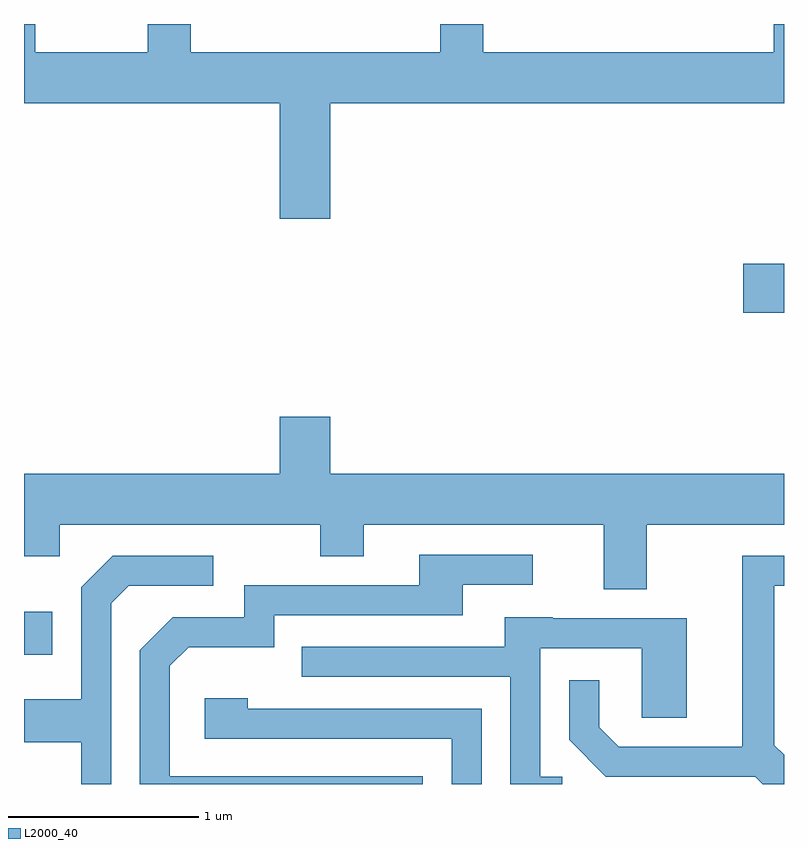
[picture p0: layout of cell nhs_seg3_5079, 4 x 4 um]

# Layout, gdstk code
import gdstk
lib = gdstk.Library(unit=1e-6, precision=1e-09)
def R(c, l, rs):  # rectangles x0, y0, x1, y1
    for r in rs: c.add(gdstk.rectangle(r[:2], r[2:], *l))
def P(c, l, *ps):  # polygons
    for p in ps: c.add(gdstk.Polygon(p, *l))
L2000_40 = (2000, 40)

nhs_seg3_5079 = lib.new_cell('nhs_seg3_5079')
R(nhs_seg3_5079, L2000_40, [(333.611,1218.571,333.759,1218.799), (337.396,1220.371,337.611,1220.629)])
P(nhs_seg3_5079, L2000_40, [(335.224,1221.476),(337.611,1221.476),(337.611,1221.892),(337.556,1221.892),(337.556,1221.744),(336.029,1221.744),(336.029,1221.892),(335.801,1221.892),(335.801,1221.744),(334.489,1221.744),(334.489,1221.892),(334.261,1221.892),(334.261,1221.744),(333.669,1221.744),(333.669,1221.892),(333.611,1221.892),(333.611,1221.476),(334.956,1221.476),(334.956,1220.866),(335.224,1220.866)],
  [(336.889,1219.256),(337.611,1219.256),(337.611,1219.524),(335.224,1219.524),(335.224,1219.824),(334.956,1219.824),(334.956,1219.524),(333.611,1219.524),(333.611,1219.091),(333.799,1219.091),(333.799,1219.256),(335.171,1219.256),(335.171,1219.091),(335.399,1219.091),(335.399,1219.256),(336.661,1219.256),(336.661,1218.916),(336.889,1218.916)],
  [(335.709,1217.934),(334.379,1217.934),(334.379,1218.514),(334.477,1218.611),(334.929,1218.611),(334.929,1218.781),(335.919,1218.781),(335.919,1218.941),(336.288,1218.941),(336.288,1219.099),(335.691,1219.099),(335.691,1218.939),(334.771,1218.939),(334.771,1218.769),(334.394,1218.769),(334.221,1218.597),(334.221,1217.892),(335.709,1217.892)],
  [(337.611,1218.045),(337.559,1218.097),(337.559,1218.936),(337.611,1218.936),(337.611,1219.094),(337.391,1219.094),(337.391,1218.089),(336.742,1218.089),(336.639,1218.192),(336.639,1218.438),(336.481,1218.438),(336.481,1218.124),(336.674,1217.931),(337.459,1217.931),(337.498,1217.892),(337.611,1217.892)],
  [(334.069,1218.844),(334.162,1218.936),(334.608,1218.936),(334.608,1219.094),(334.079,1219.094),(333.911,1218.927),(333.911,1218.339),(333.611,1218.339),(333.611,1218.111),(333.911,1218.111),(333.911,1217.892),(334.069,1217.892)],
  [(336.443,1217.929),(336.329,1217.929),(336.329,1218.606),(336.861,1218.606),(336.861,1218.241),(337.099,1218.241),(337.099,1218.764),(336.395,1218.764),(336.395,1218.769),(336.141,1218.769),(336.141,1218.614),(335.073,1218.614),(335.073,1218.456),(336.171,1218.456),(336.171,1217.892),(336.443,1217.892)],
  [(336.019,1218.289),(334.789,1218.289),(334.789,1218.344),(334.561,1218.344),(334.561,1218.131),(335.861,1218.131),(335.861,1217.892),(336.019,1217.892)])

lib.write_gds('nhs_seg3_5079.gds')
